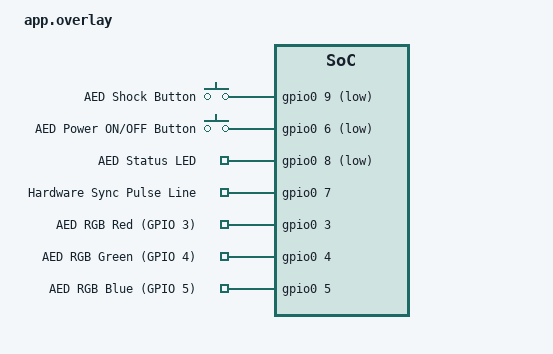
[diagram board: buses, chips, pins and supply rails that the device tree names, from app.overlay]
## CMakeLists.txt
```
# CMakeLists.txt — Zephyr RTOS Build Configuration
# CPR External AED Shock Controller (ESP32-C3)
# Protocol: BLE Peripheral (the mobile App connects directly to the AED)

cmake_minimum_required(VERSION 3.20.0)

find_package(Zephyr REQUIRED HINTS $ENV{ZEPHYR_BASE})
project(cpr_zephyr_aed_controller)

target_include_directories(app PRIVATE src)

target_sources(app PRIVATE
    src/main.c
    src/aed_button.c
    src/aed_led.c
    src/aed_ble.c
)
```

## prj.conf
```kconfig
# prj.conf — Zephyr RTOS Project Configuration
# Target  : ESP32-C3 Super Mini (esp32c3_devkitm)
# Project : CPR External AED Shock Controller
# Protocol: BLE PERIPHERAL — the mobile App connects directly to the AED
#           (the Manikin is a separate device, also connected to the App)

# ─── Serial Console & Logging ────────────────────────────────────────────────
CONFIG_PRINTK=y
CONFIG_LOG=y
CONFIG_LOG_DEFAULT_LEVEL=3

# ─── Kernel & Memory ─────────────────────────────────────────────────────────
CONFIG_MAIN_STACK_SIZE=4096
CONFIG_SYSTEM_WORKQUEUE_STACK_SIZE=4096
CONFIG_HEAP_MEM_POOL_SIZE=32768
CONFIG_NEWLIB_LIBC=y

# ─── BLE Stack (Peripheral — App connects to AED) ────────────────────────────
CONFIG_BT=y
CONFIG_BT_PERIPHERAL=y
CONFIG_BT_DEVICE_NAME="AED_001"
CONFIG_BT_DEVICE_APPEARANCE=1792
CONFIG_BT_MAX_CONN=1
CONFIG_BT_GATT_DYNAMIC_DB=y
CONFIG_BT_BUF_ACL_RX_SIZE=256
CONFIG_BT_BUF_ACL_TX_SIZE=256
CONFIG_BT_L2CAP_TX_MTU=247

# ─── BLE Security: LE Secure Connections only, fixed passkey, bonding ────────
CONFIG_BT_SMP=y
CONFIG_BT_SMP_SC_ONLY=y
CONFIG_BT_BONDABLE=y
CONFIG_BT_APP_PASSKEY=y
CONFIG_BT_MAX_PAIRED=1
CONFIG_BT_KEYS_OVERWRITE_OLDEST=y

# ─── Persistent bond storage (flash, NVS) ────────────────────────────────────
CONFIG_FLASH=y
CONFIG_FLASH_MAP=y
CONFIG_NVS=y
CONFIG_SETTINGS=y
CONFIG_SETTINGS_NVS=y
CONFIG_BT_SETTINGS=y

# ─── Peripheral Hardware Drivers ─────────────────────────────────────────────
CONFIG_GPIO=y
CONFIG_PWM=y
```

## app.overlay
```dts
/*
 * app.overlay - Devicetree overlay for CPR External AED Controller
 * Target: ESP32-C3 Super Mini / esp32c3_devkitm
 */

#include <zephyr/dt-bindings/gpio/gpio.h>

/ {
    chosen {
        zephyr,console = &usb_serial;
        zephyr,shell-uart = &usb_serial;
    };

    aliases {
        aed-shock-btn = &shock_button_node;
        aed-power-btn = &power_button_node;
        aed-status-led = &status_led_node;
        aed-sync-out = &sync_out_node;
        aed-rgb-red = &rgb_red_node;
        aed-rgb-green = &rgb_green_node;
        aed-rgb-blue = &rgb_blue_node;
    };

    aed_gpio_nodes {
        compatible = "gpio-keys";

        /* Shock Button: GPIO 9 (Onboard Boot Button or parallel external button) */
        shock_button_node: shock_btn {
            gpios = <&gpio0 9 (GPIO_PULL_UP | GPIO_ACTIVE_LOW)>;
            label = "AED Shock Button";
        };

        /* Power ON/OFF Momentary Button: GPIO 6 (External momentary tactile switch to GND) */
        power_button_node: power_btn {
            gpios = <&gpio0 6 (GPIO_PULL_UP | GPIO_ACTIVE_LOW)>;
            label = "AED Power ON/OFF Button";
        };

        /* Status Indicator LED: GPIO 8 (Onboard blue LED, Active-LOW) */
        status_led_node: status_led {
            gpios = <&gpio0 8 GPIO_ACTIVE_LOW>;
            label = "AED Status LED";
        };

        /* Hardware Sync Pulse Output: GPIO 7 */
        sync_out_node: sync_out {
            gpios = <&gpio0 7 GPIO_ACTIVE_HIGH>;
            label = "Hardware Sync Pulse Line";
        };

        /* RGB LED Channels */
        rgb_red_node: rgb_red {
            gpios = <&gpio0 3 GPIO_ACTIVE_HIGH>;
            label = "AED RGB Red (GPIO 3)";
        };

        rgb_green_node: rgb_green {
            gpios = <&gpio0 4 GPIO_ACTIVE_HIGH>;
            label = "AED RGB Green (GPIO 4)";
        };

        rgb_blue_node: rgb_blue {
            gpios = <&gpio0 5 GPIO_ACTIVE_HIGH>;
            label = "AED RGB Blue (GPIO 5)";
        };
    };
};

&user_button1 {
    status = "disabled";
};
```

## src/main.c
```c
/**
 * @file    main.c
 * @brief   CPR External AED Shock Unit - Main Application (Zephyr RTOS)
 * @version 4.0.0
 *
 * The mobile App is the BLE central and connects directly to this AED.
 *
 * App commands (NUS RX):   C or ?  |  P0 P1  |  S0 S1
 * AED events   (NUS TX):   power 0/1/2   shock 0/1/2/3   (only on change)
 *
 *   power: 0 button off | 1 waiting for press | 2 power on
 *   shock: 0 button off | 1 waiting for press | 2 in progress | 3 delivered
 *   (power 0 always forces shock 0)
 *
 * Session flow:
 *   App P1            -> power 1   (power button enabled, nothing else happens)
 *   user presses power-> power 2   LED solid yellow
 *   App checks pads (Manikin), sends S1 -> shock 1 (shock button enabled)
 *   user presses shock-> shock 2   LED yellow 5 s -> red strobe 5 s (+ sync pulse)
 *   sequence done     -> shock 3   LED green
 *   App sends P0      -> power 0, shock 0, LED off
 *   App link lost     -> power 0, shock 0 (fail-safe)
 *
 * All state changes run in ONE context (system work queue): button ISRs and
 * BLE callbacks only post an event to the queue.
 */

#include <zephyr/kernel.h>
#include <zephyr/logging/log.h>

#include "aed_config.h"
#include "aed_protocol.h"
#include "aed_button.h"
#include "aed_led.h"
#include "aed_ble.h"

LOG_MODULE_REGISTER(main, LOG_LEVEL_INF);

/* --- Events (posted from ISR / BLE thread, handled in the work queue) ----- */
enum aed_event {
    EV_PWR_PRESS = 1,
    EV_SHOCK_PRESS,
    EV_P0,
    EV_P1,
    EV_S0,
    EV_S1,
    EV_ANNOUNCE,
    EV_LINK_UP,
    EV_LINK_DOWN,
    EV_NOTIFY_ON,
};

K_MSGQ_DEFINE(s_evq, sizeof(uint8_t), 16, 1);
static struct k_work s_ev_work;

static void post_event(enum aed_event ev)
{
    uint8_t e = (uint8_t)ev;
    if (k_msgq_put(&s_evq, &e, K_NO_WAIT) == 0) {
        k_work_submit(&s_ev_work);
    } else {
        LOG_WRN("Event queue full, event %d dropped", (int)ev);
    }
}

/* --- AED state ------------------------------------------------------------ */
static uint8_t s_power = AED_POWER_OFF;
static uint8_t s_shock = AED_SHOCK_OFF;

static struct k_work_delayable s_shock_seq_work;
static uint8_t s_shock_stage = 0;  /* 0 idle, 1 yellow (5 s), 2 red strobe (5 s) */

static void publish_power(bool force)
{
    static int8_t last = -1;
    if (force || last != (int8_t)s_power) {
        last = (int8_t)s_power;
        aed_ble_send_event(PTYPE_AED_POWER, (int8_t)s_power);
    }
}

static void publish_shock(bool force)
{
    static int8_t last = -1;
    if (force || last != (int8_t)s_shock) {
        last = (int8_t)s_shock;
        aed_ble_send_event(PTYPE_AED_SHOCK, (int8_t)s_shock);
    }
}

/* LED follows the state, except while the shock sequence drives it */
static void apply_led(void)
{
    if (!aed_ble_is_connected()) {
        aed_led_set_mode(AED_LED_MODE_WAITING_FOR_PEER);      /* blue breathing */
    } else if (s_shock == AED_SHOCK_IN_PROGRESS) {
        /* sequence owns the LED */
    } else if (s_shock == AED_SHOCK_DELIVERED) {
        aed_led_set_mode(AED_LED_MODE_PEER_ACTIVE);            /* solid green */
    } else if (s_power == AED_POWER_ON) {
        aed_led_set_mode(AED_LED_MODE_POWER_READY);            /* solid yellow */
    } else {
        aed_led_set_mode(AED_LED_MODE_OFF);
    }
}

static void cancel_sequence(void)
{
    k_work_cancel_delayable(&s_shock_seq_work);
    s_shock_stage = 0;
}

/* Power 0 + shock 0 (App P0, user power-off, link lost) */
static void all_off(bool publish)
{
    cancel_sequence();
    s_power = AED_POWER_OFF;
    s_shock = AED_SHOCK_OFF;
    if (publish) {
        publish_power(true);
        publish_shock(true);
    }
    apply_led();
}

/* --- Shock sequence: yellow 5 s -> red strobe 5 s -> green (delivered) ---- */
static void start_shock_sequence(void)
{
    s_shock       = AED_SHOCK_IN_PROGRESS;
    s_shock_stage = 1;
    publish_shock(false);

    LOG_INF(">>> [SHOCK 1/2] YELLOW 5 s <<<");
    aed_led_set_mode(AED_LED_MODE_SHOCK_INSTRUCTION);
    k_work_reschedule(&s_shock_seq_work, K_MSEC(TIMING_SHOCK_INSTRUCTION_MS));
}

static void shock_sequence_work_handler(struct k_work *work)
{
    ARG_UNUSED(work);

    if (s_shock_stage == 1) {
        s_shock_stage = 2;
        LOG_INF(">>> [SHOCK 2/2] RED STROBE 5 s, sync pulse on GPIO 7 <<<");
        aed_led_set_mode(AED_LED_MODE_SHOCK_GIVING);
        aed_button_fire_sync_pulse(TIMING_SYNC_PULSE_MS * 1000U);
        k_work_reschedule(&s_shock_seq_work, K_MSEC(TIMING_SHOCK_GIVING_MS));
    } else if (s_shock_stage == 2) {
        s_shock_stage = 0;
        s_shock       = AED_SHOCK_DELIVERED;
        LOG_INF(">>> SHOCK DELIVERED - waiting for App P0 <<<");
        aed_led_set_mode(AED_LED_MODE_SHOCK_OFF_LATCH);        /* green */
        publish_shock(false);
    }
}

/* --- Event handler (single context) --------------------------------------- */
static void handle_event(uint8_t ev)
{
    switch (ev) {
    case EV_LINK_UP:
        LOG_INF("App connected");
        apply_led();
        break;

    case EV_LINK_DOWN:
        LOG_INF("App disconnected - fail-safe: power 0, shock 0");
        all_off(false);                 /* link is gone, nothing to publish */
        break;

    case EV_NOTIFY_ON:                  /* snapshot of the current values */
        publish_power(true);
        publish_shock(true);
        break;

    case EV_ANNOUNCE:
        aed_ble_send_announce();
        break;

    case EV_P1:                         /* App turns power ON directly (Option 2) */
        if (s_power != AED_POWER_ON) {
            s_power = AED_POWER_ON;
            apply_led();
        }
        publish_power(true);
        break;

    case EV_P0:                         /* disable power + shock buttons */
        all_off(true);
        break;

    case EV_S1:                         /* enable shock button (power must be on) */
        if (s_power == AED_POWER_ON && s_shock == AED_SHOCK_OFF) {
            s_shock = AED_SHOCK_WAIT_PRESS;
            apply_led();
        } else {
            LOG_WRN("S1 ignored (power=%u shock=%u)", s_power, s_shock);
        }
        publish_shock(true);
        break;

    case EV_S0:                         /* disable shock button */
        if (s_shock == AED_SHOCK_WAIT_PRESS) {
            s_shock = AED_SHOCK_OFF;
            apply_led();
        } else {
            LOG_WRN("S0 ignored (shock=%u)", s_shock);
        }
        publish_shock(true);
        break;

    case EV_PWR_PRESS:                  /* GPIO 6 triggered: Monitor Only (inform, do not reset) */
        LOG_INF("GPIO 6 triggered [MONITOR EVENT] - state retained (power=%u shock=%u)", s_power, s_shock);
        aed_ble_send_event(PTYPE_AED_TRIGGER, 1);
        break;

    case EV_SHOCK_PRESS:                /* user presses the shock button */
        if (s_shock == AED_SHOCK_WAIT_PRESS) {
            LOG_INF("Shock button pressed: starting sequence");
            start_shock_sequence();
        } else {
            LOG_INF("Shock button ignored (shock=%u)", s_shock);
        }
        break;

    default:
        break;
    }
}

static void event_work_handler(struct k_work *work)
{
    ARG_UNUSED(work);
    uint8_t ev;
    while (k_msgq_get(&s_evq, &ev, K_NO_WAIT) == 0) {
        handle_event(ev);
    }
}

/* --- Callbacks: only post events ------------------------------------------ */
static void on_shock_button_pressed(void)  { post_event(EV_SHOCK_PRESS); }
static void on_power_button_pressed(void)  { post_event(EV_PWR_PRESS); }
static void on_app_link(bool connected)    { post_event(connected ? EV_LINK_UP : EV_LINK_DOWN); }
static void on_app_notify_enabled(void)    { post_event(EV_NOTIFY_ON); }

static void on_app_command(aed_cmd_t cmd)
{
    switch (cmd) {
    case AED_CMD_ANNOUNCE: post_event(EV_ANNOUNCE); break;
    case AED_CMD_P0:       post_event(EV_P0);       break;
    case AED_CMD_P1:       post_event(EV_P1);       break;
    case AED_CMD_S0:       post_event(EV_S0);       break;
    case AED_CMD_S1:       post_event(EV_S1);       break;
    default: break;
    }
}

/* --- MAIN ------------------------------------------------------------------ */
int main(void)
{
    LOG_INF("==================================================");
    LOG_INF(" CPR External AED Unit v%s [Zephyr RTOS]", AED_FW_VERSION_STR);
    LOG_INF(" Protocol: BLE PERIPHERAL (App connects directly)");
    LOG_INF(" Device  : %s", AED_BLE_DEVICE_NAME);
    LOG_INF("==================================================");

    k_work_init(&s_ev_work, event_work_handler);
    k_work_init_delayable(&s_shock_seq_work, shock_sequence_work_handler);

    int ret = aed_led_init();                       /* starts blue breathing */
    if (ret) {
        LOG_ERR("LED init failed (err %d)", ret);
    }

    ret = aed_button_init(on_shock_button_pressed, on_power_button_pressed);
    if (ret) {
        LOG_ERR("Button init failed (err %d)", ret);
    }

    ret = aed_ble_init(on_app_command, on_app_link, on_app_notify_enabled);
    if (ret) {
        LOG_ERR("BLE init failed (err %d) - running without wireless", ret);
    }

    LOG_INF("AED System Ready (power 0, shock 0).");

    while (1) {
        LOG_INF("[AED HEALTH] power=%u shock=%u | App: %s",
                s_power, s_shock,
                aed_ble_is_connected() ? "CONNECTED" : "ADVERTISING");
        k_msleep(5000);
    }

    return 0;
}
```

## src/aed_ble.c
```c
/**
 * @file    aed_ble.c
 * @brief   AED BLE Peripheral Subsystem Implementation (Zephyr RTOS)
 * @version 4.0.0
 *
 * ROLE: BLE PERIPHERAL. The mobile App connects directly to the AED.
 *
 * Flow:
 *   1. AED boots -> advertises as "AED_001" (connectable)
 *   2. App connects, pairs (passkey, LE Secure Connections), bonds
 *   3. App enables NUS TX notify -> AED sends current power / shock values
 *   4. App writes commands to NUS RX:  C ?  P0 P1  S0 S1
 *   5. AED notifies events (power, shock) only when a value changes
 *
 * SECURITY:
 *   - LE Secure Connections only (CONFIG_BT_SMP_SC_ONLY)
 *   - Fixed per-unit passkey (AED_BLE_PASSKEY in aed_config.h) -> MITM-protected
 *   - All GATT attributes need an authenticated + encrypted link (PERM_*_AUTHEN)
 *   - Bond stored in flash (CONFIG_BT_SETTINGS)
 */

#include "aed_ble.h"
#include "aed_config.h"
#include "aed_protocol.h"

#include <string.h>
#include <zephyr/kernel.h>
#include <zephyr/logging/log.h>
#include <zephyr/settings/settings.h>
#include <zephyr/bluetooth/bluetooth.h>
#include <zephyr/bluetooth/conn.h>
#include <zephyr/bluetooth/uuid.h>
#include <zephyr/bluetooth/gatt.h>
#include <zephyr/bluetooth/hci.h>

LOG_MODULE_REGISTER(aed_ble, LOG_LEVEL_INF);

/* --- NUS UUIDs ------------------------------------------------------------ */
#define BT_UUID_NUS_SERVICE_VAL \
    BT_UUID_128_ENCODE(0x6e400001, 0xb5a3, 0xf393, 0xe0a9, 0xe50e24dcca9e)
#define BT_UUID_NUS_RX_VAL \
    BT_UUID_128_ENCODE(0x6e400002, 0xb5a3, 0xf393, 0xe0a9, 0xe50e24dcca9e)
#define BT_UUID_NUS_TX_VAL \
    BT_UUID_128_ENCODE(0x6e400003, 0xb5a3, 0xf393, 0xe0a9, 0xe50e24dcca9e)

static struct bt_uuid_128 nus_uuid    = BT_UUID_INIT_128(BT_UUID_NUS_SERVICE_VAL);
static struct bt_uuid_128 nus_rx_uuid = BT_UUID_INIT_128(BT_UUID_NUS_RX_VAL);
static struct bt_uuid_128 nus_tx_uuid = BT_UUID_INIT_128(BT_UUID_NUS_TX_VAL);

/* --- State ---------------------------------------------------------------- */
static struct bt_conn *s_conn = NULL;
static volatile bool   s_connected = false;
static volatile bool   s_notify_en = false;

static aed_ble_cmd_cb_t    s_cmd_cb    = NULL;
static aed_ble_link_cb_t   s_link_cb   = NULL;
static aed_ble_notify_cb_t s_notify_cb = NULL;

static struct k_work_delayable s_adv_restart_work;
static struct k_spinlock       s_lock;
static atomic_t                s_packet_counter;
static uint8_t                 s_device_id[3] = {0, 0, 0};

/* --- Advertisement payload ------------------------------------------------ *
 * Manufacturer data: C4 C9 (company 0xC9C4) + state (0 available, 1 connected)
 */
static uint8_t s_mfg_data[3] = {
    (uint8_t)(AED_BLE_MFG_COMPANY_ID & 0xFF),
    (uint8_t)((AED_BLE_MFG_COMPANY_ID >> 8) & 0xFF),
    AED_BLE_STATE_AVAILABLE
};

static const struct bt_data s_ad[] = {
    BT_DATA_BYTES(BT_DATA_FLAGS, (BT_LE_AD_GENERAL | BT_LE_AD_NO_BREDR)),
    BT_DATA(BT_DATA_NAME_COMPLETE, AED_BLE_DEVICE_NAME, sizeof(AED_BLE_DEVICE_NAME) - 1),
    BT_DATA(BT_DATA_MANUFACTURER_DATA, s_mfg_data, sizeof(s_mfg_data)),
};

static const struct bt_data s_sd[] = {
    BT_DATA_BYTES(BT_DATA_UUID128_ALL, BT_UUID_NUS_SERVICE_VAL),
};

/* --- GATT: NUS TX (notify: AED -> App) ------------------------------------ */
static uint8_t  s_tx_buf[24];
static uint16_t s_tx_len = 0;

static ssize_t on_nus_tx_read(struct bt_conn *conn,
                              const struct bt_gatt_attr *attr,
                              void *buf, uint16_t len, uint16_t offset)
{
    return bt_gatt_attr_read(conn, attr, buf, len, offset, s_tx_buf, s_tx_len);
}

static void on_nus_tx_ccc_changed(const struct bt_gatt_attr *attr, uint16_t value)
{
    ARG_UNUSED(attr);
    s_notify_en = (value == BT_GATT_CCC_NOTIFY);
    LOG_INF("[AED BLE] NUS TX notify %s", s_notify_en ? "enabled" : "disabled");
    if (s_notify_en && s_notify_cb) {
        s_notify_cb();
    }
}

/* --- GATT: NUS RX (write: App -> AED) ------------------------------------- *
 * Commands (1 letter + optional digit, trailing CR/LF ignored):
 *   C or ?   announce      P0 / P1   power button      S0 / S1   shock button
 */
static ssize_t on_nus_rx_write(struct bt_conn *conn,
                               const struct bt_gatt_attr *attr,
                               const void *buf, uint16_t len,
                               uint16_t offset, uint8_t flags)
{
    ARG_UNUSED(attr);
    ARG_UNUSED(flags);

    if (offset != 0) {
        return BT_GATT_ERR(BT_ATT_ERR_INVALID_OFFSET);
    }
    if (len < 1 || conn != s_conn) {
        return len;
    }

    const char *cmd = (const char *)buf;
    char c = cmd[0];
    if (c >= 'a' && c <= 'z') {
        c = (char)(c - 'a' + 'A');
    }
    char arg = (len >= 2) ? cmd[1] : '\0';

    aed_cmd_t out = 0;

    if (c == 'C' || c == '?') {
        out = AED_CMD_ANNOUNCE;
    } else if (c == 'P' && arg == '0') {
        out = AED_CMD_P0;
    } else if (c == 'P' && arg == '1') {
        out = AED_CMD_P1;
    } else if (c == 'S' && arg == '0') {
        out = AED_CMD_S0;
    } else if (c == 'S' && arg == '1') {
        out = AED_CMD_S1;
    } else {
        LOG_WRN("[RX BLOCKED] Unknown command from App (len %u, first byte 0x%02x)", len, (uint8_t)cmd[0]);
        return len;
    }

    LOG_INF("[RX] Command %d from App", (int)out);
    if (s_cmd_cb) {
        s_cmd_cb(out);
    }
    return len;
}

/* --- GATT Service (all attributes need authenticated + encrypted link) ---- */
BT_GATT_SERVICE_DEFINE(aed_nus_svc,
    BT_GATT_PRIMARY_SERVICE(&nus_uuid),

    /* attrs[1], attrs[2]: NUS RX - App writes commands here */
    BT_GATT_CHARACTERISTIC(&nus_rx_uuid.uuid,
                           BT_GATT_CHRC_WRITE | BT_GATT_CHRC_WRITE_WITHOUT_RESP,
                           BT_GATT_PERM_WRITE_AUTHEN,
                           NULL, on_nus_rx_write, NULL),

    /* attrs[3], attrs[4]: NUS TX - AED notifies events here */
    BT_GATT_CHARACTERISTIC(&nus_tx_uuid.uuid,
                           BT_GATT_CHRC_NOTIFY | BT_GATT_CHRC_READ,
                           BT_GATT_PERM_READ_AUTHEN,
                           on_nus_tx_read, NULL, NULL),

    /* attrs[5]: CCC */
    BT_GATT_CCC(on_nus_tx_ccc_changed,
                BT_GATT_PERM_READ_AUTHEN | BT_GATT_PERM_WRITE_AUTHEN),
);

#define NUS_TX_ATTR_INDEX 4

/* --- Packet send ---------------------------------------------------------- */
static int send_bytes(const void *data, uint16_t len)
{
    k_spinlock_key_t key = k_spin_lock(&s_lock);
    struct bt_conn *conn = s_conn ? bt_conn_ref(s_conn) : NULL;
    k_spin_unlock(&s_lock, key);

    if (!conn) {
        return -ENOTCONN;
    }

    const struct bt_gatt_attr *tx = &aed_nus_svc.attrs[NUS_TX_ATTR_INDEX];
    int err;

    if (!bt_gatt_is_subscribed(conn, tx, BT_GATT_CCC_NOTIFY)) {
        err = -ENOTCONN;
    } else if (len > sizeof(s_tx_buf)) {
        err = -EMSGSIZE;
    } else {
        memcpy(s_tx_buf, data, len);
        s_tx_len = len;
        err = bt_gatt_notify(conn, tx, data, len);
    }

    bt_conn_unref(conn);
    return err;
}

int aed_ble_send_event(uint8_t type, int8_t value)
{
    AedEventPacket p;
    memset(&p, 0, sizeof(p));

    p.magic[0]    = PACKET_MAGIC_0;
    p.magic[1]    = PACKET_MAGIC_1;
    p.version     = PROTOCOL_VER;
    p.type        = type;
    p.timestamp   = k_uptime_get_32();
    p.id          = (uint16_t)atomic_inc(&s_packet_counter);
    p.value       = value;
    memcpy(p.deviceID, s_device_id, sizeof(p.deviceID));
    p.checksum    = aed_proto_checksum((const uint8_t *)&p, sizeof(p) - 1u);

    int err = send_bytes(&p, sizeof(p));
    if (err) {
        LOG_WRN("[AED BLE] event 0x%02x=%d not sent (err %d)", type, value, err);
    }
    return err;
}

int aed_ble_send_announce(void)
{
    AedAnnouncePacket p;
    memset(&p, 0, sizeof(p));

    p.magic[0]   = PACKET_MAGIC_0;
    p.magic[1]   = PACKET_MAGIC_1;
    p.version    = PROTOCOL_VER;
    p.type       = PTYPE_ANNOUNCE;
    p.timestamp  = k_uptime_get_32();
    p.id         = (uint16_t)atomic_inc(&s_packet_counter);
    p.battery    = -1;   /* AED has no battery measurement */
    memcpy(p.deviceID, s_device_id, sizeof(p.deviceID));
    /* AED_BLE_DEVICE_NAME is "AED_001": send the unit id part "001" */
    memcpy(p.name, AED_BLE_DEVICE_NAME + 4, 3);
    p.name[3]    = '\0';
    p.deviceType = AED_DEVICE_TYPE;
    p.checksum   = aed_proto_checksum((const uint8_t *)&p, sizeof(p) - 1u);

    return send_bytes(&p, sizeof(p));
}

/* --- Advertising ---------------------------------------------------------- */
static int start_advertising(void)
{
    if (s_connected) {
        return 0;
    }

    bt_le_adv_stop();

    int err = bt_le_adv_start(BT_LE_ADV_CONN_FAST_1,
                              s_ad, ARRAY_SIZE(s_ad),
                              s_sd, ARRAY_SIZE(s_sd));
    if (err) {
        LOG_ERR("[AED BLE] bt_le_adv_start failed (err %d)", err);
        return err;
    }

    LOG_INF("[AED BLE] Advertising as '%s' - waiting for App...", AED_BLE_DEVICE_NAME);
    return 0;
}

static void adv_restart_work_handler(struct k_work *work)
{
    ARG_UNUSED(work);
    if (!s_connected && start_advertising()) {
        k_work_reschedule(&s_adv_restart_work, K_MSEC(500));
    }
}

/* --- Connection callbacks ------------------------------------------------- */
static void on_connected(struct bt_conn *conn, uint8_t err)
{
    if (err) {
        LOG_ERR("[AED BLE] Connection failed (err 0x%02x) - restarting adv", err);
        k_work_reschedule(&s_adv_restart_work, K_MSEC(100));
        return;
    }

    k_work_cancel_delayable(&s_adv_restart_work);

    k_spinlock_key_t key = k_spin_lock(&s_lock);
    s_conn      = bt_conn_ref(conn);
    s_connected = true;
    k_spin_unlock(&s_lock, key);

    s_mfg_data[2] = AED_BLE_STATE_CONNECTED;
    LOG_INF(">>> [AED BLE] App connected");

    /* Ask the App to secure the link (passkey pairing / encryption) */
    int sec = bt_conn_set_security(conn, BT_SECURITY_L4);
    if (sec) {
        LOG_WRN("[AED BLE] bt_conn_set_security failed (err %d)", sec);
    }

    if (s_link_cb) {
        s_link_cb(true);
    }
}

static void on_disconnected(struct bt_conn *conn, uint8_t reason)
{
    LOG_INF("<<< [AED BLE] App disconnected (reason 0x%02x)", reason);

    k_spinlock_key_t key = k_spin_lock(&s_lock);
    struct bt_conn *old = s_conn;
    s_conn      = NULL;
    s_connected = false;
    k_spin_unlock(&s_lock, key);

    if (old) {
        bt_conn_unref(old);
    }
    s_notify_en   = false;
    s_mfg_data[2] = AED_BLE_STATE_AVAILABLE;

    if (s_link_cb) {
        s_link_cb(false);
    }

    k_work_reschedule(&s_adv_restart_work, K_MSEC(100));
}

static void on_recycled(void)
{
    k_work_reschedule(&s_adv_restart_work, K_NO_WAIT);
}

BT_CONN_CB_DEFINE(aed_conn_callbacks) = {
    .connected    = on_connected,
    .disconnected = on_disconnected,
    .recycled     = on_recycled,
};

/* --- Pairing (fixed passkey, App enters it) ------------------------------- */
static void auth_passkey_display(struct bt_conn *conn, unsigned int passkey)
{
    ARG_UNUSED(conn);
    ARG_UNUSED(passkey);
    /* Passkey is fixed (AED_BLE_PASSKEY) and printed on the unit label */
    LOG_INF("[AED BLE] Pairing: App must enter the unit passkey");
}

static void auth_cancel(struct bt_conn *conn)
{
    ARG_UNUSED(conn);
    LOG_WRN("[AED BLE] Pairing cancelled");
}

#if defined(CONFIG_BT_APP_PASSKEY)
static uint32_t auth_app_passkey(struct bt_conn *conn)
{
    ARG_UNUSED(conn);
    return (uint32_t)AED_BLE_PASSKEY;
}
#endif

static struct bt_conn_auth_cb s_auth_cb = {
    .passkey_display = auth_passkey_display,
#if defined(CONFIG_BT_APP_PASSKEY)
    .app_passkey     = auth_app_passkey,
#endif
    .cancel          = auth_cancel,
};

static void pairing_complete(struct bt_conn *conn, bool bonded)
{
    ARG_UNUSED(conn);
    LOG_INF("[AED BLE] Pairing complete (bonded=%d)", bonded);
}

static void pairing_failed(struct bt_conn *conn, enum bt_security_err reason)
{
    ARG_UNUSED(conn);
    LOG_WRN("[AED BLE] Pairing failed (reason %d)", reason);
}

static struct bt_conn_auth_info_cb s_auth_info_cb = {
    .pairing_complete = pairing_complete,
    .pairing_failed   = pairing_failed,
};

/* --- Public API ----------------------------------------------------------- */
int aed_ble_init(aed_ble_cmd_cb_t cmd_cb,
                 aed_ble_link_cb_t link_cb,
                 aed_ble_notify_cb_t notify_cb)
{
    s_cmd_cb    = cmd_cb;
    s_link_cb   = link_cb;
    s_notify_cb = notify_cb;

    k_work_init_delayable(&s_adv_restart_work, adv_restart_work_handler);

    int err = bt_conn_auth_cb_register(&s_auth_cb);
    if (err) {
        LOG_ERR("[AED BLE] auth cb register failed (err %d)", err);
        return err;
    }
    err = bt_conn_auth_info_cb_register(&s_auth_info_cb);
    if (err) {
        LOG_ERR("[AED BLE] auth info cb register failed (err %d)", err);
        return err;
    }

    err = bt_enable(NULL);
    if (err) {
        LOG_ERR("[AED BLE] bt_enable failed (err %d)", err);
        return err;
    }

    if (IS_ENABLED(CONFIG_BT_SETTINGS)) {
        err = settings_load();
        if (err) {
            LOG_WRN("[AED BLE] settings_load failed (err %d) - bond not persistent", err);
        }
    }

    /* Device ID = last 3 bytes of the BLE address */
    bt_addr_le_t addrs[CONFIG_BT_ID_MAX];
    size_t count = ARRAY_SIZE(addrs);
    bt_id_get(addrs, &count);
    if (count > 0) {
        s_device_id[0] = addrs[0].a.val[2];
        s_device_id[1] = addrs[0].a.val[1];
        s_device_id[2] = addrs[0].a.val[0];
    }

    LOG_INF("[AED BLE] BLE stack enabled. Starting advertising as '%s'...", AED_BLE_DEVICE_NAME);
    return start_advertising();
}

bool aed_ble_is_connected(void)
{
    return s_connected;
}
```

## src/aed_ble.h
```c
/**
 * @file    aed_ble.h
 * @brief   AED BLE Peripheral Subsystem - Public API (Zephyr RTOS)
 * @version 4.0.0
 *
 * AED role: BLE PERIPHERAL. The mobile App is the BLE central and connects
 * directly to the AED (the Manikin is a separate device, also connected to
 * the App; AED and Manikin never talk to each other).
 *
 *   App -> AED commands (NUS RX write, plain ASCII):
 *     C or ?   announce request
 *     P0 / P1  power button disable / enable
 *     S0 / S1  shock button disable / enable
 *
 *   AED -> App events (NUS TX notify): see aed_protocol.h
 *
 * Link security: LE Secure Connections only, authenticated (passkey),
 * bonded. Every GATT attribute requires an authenticated, encrypted link.
 */

#pragma once

#include <stdbool.h>
#include <stdint.h>

#ifdef __cplusplus
extern "C" {
#endif

typedef enum {
    AED_CMD_ANNOUNCE = 1,   /* 'C' or '?' */
    AED_CMD_P0,             /* power button disable */
    AED_CMD_P1,             /* power button enable  */
    AED_CMD_S0,             /* shock button disable */
    AED_CMD_S1,             /* shock button enable  */
} aed_cmd_t;

/** Called (BLE thread) for every valid command written by the App */
typedef void (*aed_ble_cmd_cb_t)(aed_cmd_t cmd);

/** Called (BLE thread) when the App connects (true) or disconnects (false) */
typedef void (*aed_ble_link_cb_t)(bool connected);

/** Called (BLE thread) when the App enables NUS TX notifications */
typedef void (*aed_ble_notify_cb_t)(void);

/**
 * @brief  Initialize BLE stack, security, GATT service and start advertising.
 * @return 0 on success, negative errno on failure
 */
int aed_ble_init(aed_ble_cmd_cb_t cmd_cb,
                 aed_ble_link_cb_t link_cb,
                 aed_ble_notify_cb_t notify_cb);

/** True while the App is connected */
bool aed_ble_is_connected(void);

/**
 * @brief  Notify one event to the App (15 byte packet).
 * @param  type   PTYPE_AED_POWER or PTYPE_AED_SHOCK
 * @param  value  event value
 * @return 0 on success, negative errno if App not connected / not subscribed
 */
int aed_ble_send_event(uint8_t type, int8_t value);

/** Notify the announce packet (reply to 'C' / '?') */
int aed_ble_send_announce(void);

#ifdef __cplusplus
}
#endif
```

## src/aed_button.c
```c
/**
 * @file    aed_button.c
 * @brief   AED Shock & Power ON/OFF Button Drivers (Zephyr RTOS)
 * @version 2.0.0
 */

#include "aed_button.h"
#include <zephyr/kernel.h>
#include <zephyr/drivers/gpio.h>
#include <zephyr/logging/log.h>

LOG_MODULE_REGISTER(aed_button, LOG_LEVEL_INF);

/* Devicetree specifications */
static const struct gpio_dt_spec s_shock_btn_spec = GPIO_DT_SPEC_GET_OR(DT_ALIAS(aed_shock_btn), gpios, {0});
static const struct gpio_dt_spec s_power_btn_spec = GPIO_DT_SPEC_GET_OR(DT_ALIAS(aed_power_btn), gpios, {0});
static const struct gpio_dt_spec s_sync_spec      = GPIO_DT_SPEC_GET_OR(DT_ALIAS(aed_sync_out), gpios, {0});

static const struct device *s_gpio_dev = NULL;

static struct gpio_callback s_shock_cb_data;
static struct gpio_callback s_power_cb_data;

static aed_shock_btn_cb_t s_shock_cb = NULL;
static aed_power_btn_cb_t s_power_cb = NULL;

static int64_t s_last_shock_ms = 0;
static int64_t s_last_power_ms = 0;

void aed_button_fire_sync_pulse(uint32_t duration_us)
{
    if (s_sync_spec.port && device_is_ready(s_sync_spec.port)) {
        gpio_pin_set_dt(&s_sync_spec, 1);
        k_busy_wait(duration_us);
        gpio_pin_set_dt(&s_sync_spec, 0);
    } else if (s_gpio_dev) {
        gpio_pin_set_raw(s_gpio_dev, HAL_PIN_SYNC_OUT, 1);
        k_busy_wait(duration_us);
        gpio_pin_set_raw(s_gpio_dev, HAL_PIN_SYNC_OUT, 0);
    }
}

/* Shock Button Interrupt Handler */
static void shock_btn_interrupt_handler(const struct device *dev, struct gpio_callback *cb, uint32_t pins)
{
    ARG_UNUSED(dev);
    ARG_UNUSED(cb);
    ARG_UNUSED(pins);

    /* Debounce only. Whether a press is allowed is decided by the AED state
     * machine in main.c (shock button works only in the "waiting for press" state). */
    int64_t now = k_uptime_get();
    if ((now - s_last_shock_ms) < TIMING_BTN_DEBOUNCE_MS) {
        return;
    }

    s_last_shock_ms = now;

    if (s_shock_cb) {
        s_shock_cb();
    }
}

/* Power button (momentary) Interrupt Handler - press edge only */
static void power_btn_interrupt_handler(const struct device *dev, struct gpio_callback *cb, uint32_t pins)
{
    ARG_UNUSED(dev);
    ARG_UNUSED(cb);
    ARG_UNUSED(pins);

    int64_t now = k_uptime_get();
    if ((now - s_last_power_ms) < TIMING_BTN_DEBOUNCE_MS) {
        return;
    }

    s_last_power_ms = now;

    if (s_power_cb) {
        s_power_cb();
    }
}

int aed_button_init(aed_shock_btn_cb_t shock_cb, aed_power_btn_cb_t power_cb)
{
    s_shock_cb = shock_cb;
    s_power_cb = power_cb;

    /* 1. Configure Hardware Sync Pulse Output (GPIO 7) */
    if (s_sync_spec.port && device_is_ready(s_sync_spec.port)) {
        gpio_pin_configure_dt(&s_sync_spec, GPIO_OUTPUT_INACTIVE);
        LOG_INF("Sync output configured via DT alias on GPIO %d", s_sync_spec.pin);
    } else {
        s_gpio_dev = DEVICE_DT_GET(DT_NODELABEL(gpio0));
        if (device_is_ready(s_gpio_dev)) {
            gpio_pin_configure(s_gpio_dev, HAL_PIN_SYNC_OUT, GPIO_OUTPUT_INACTIVE);
            LOG_INF("Sync output fallback initialized on GPIO %d", HAL_PIN_SYNC_OUT);
        }
    }

    /* 2. Configure Shock Button Input with Interrupt (GPIO 9) */
    if (s_shock_btn_spec.port && device_is_ready(s_shock_btn_spec.port)) {
        int ret = gpio_pin_configure_dt(&s_shock_btn_spec, GPIO_INPUT | GPIO_PULL_UP);
        if (ret < 0) {
            LOG_ERR("Failed to configure shock button DT (err %d)", ret);
            return ret;
        }

        ret = gpio_pin_interrupt_configure_dt(&s_shock_btn_spec, GPIO_INT_EDGE_TO_ACTIVE);
        if (ret < 0) {
            LOG_ERR("Failed to configure shock interrupt DT (err %d)", ret);
            return ret;
        }

        gpio_init_callback(&s_shock_cb_data, shock_btn_interrupt_handler, BIT(s_shock_btn_spec.pin));
        gpio_add_callback(s_shock_btn_spec.port, &s_shock_cb_data);
        LOG_INF("Shock button configured on DT pin %d (Active-LOW)", s_shock_btn_spec.pin);
    } else {
        if (!s_gpio_dev) {
            s_gpio_dev = DEVICE_DT_GET(DT_NODELABEL(gpio0));
        }
        if (s_gpio_dev && device_is_ready(s_gpio_dev)) {
            gpio_pin_configure(s_gpio_dev, HAL_PIN_SHOCK_BUTTON, GPIO_INPUT | GPIO_PULL_UP);
            gpio_pin_interrupt_configure(s_gpio_dev, HAL_PIN_SHOCK_BUTTON, GPIO_INT_EDGE_FALLING);

            gpio_init_callback(&s_shock_cb_data, shock_btn_interrupt_handler, BIT(HAL_PIN_SHOCK_BUTTON));
            gpio_add_callback(s_gpio_dev, &s_shock_cb_data);
            LOG_INF("Shock button configured on fallback GPIO %d", HAL_PIN_SHOCK_BUTTON);
        }
    }

    /* 3. Configure Power ON/OFF Latching Switch Input with BOTH Edges Interrupt (GPIO 6) */
    if (s_power_btn_spec.port && device_is_ready(s_power_btn_spec.port)) {
        int ret = gpio_pin_configure_dt(&s_power_btn_spec, GPIO_INPUT | GPIO_PULL_UP);
        if (ret < 0) {
            LOG_ERR("Failed to configure power switch DT (err %d)", ret);
            return ret;
        }

        ret = gpio_pin_interrupt_configure_dt(&s_power_btn_spec, GPIO_INT_EDGE_TO_ACTIVE);
        if (ret < 0) {
            LOG_ERR("Failed to configure power button interrupt DT (err %d)", ret);
            return ret;
        }

        gpio_init_callback(&s_power_cb_data, power_btn_interrupt_handler, BIT(s_power_btn_spec.pin));
        gpio_add_callback(s_power_btn_spec.port, &s_power_cb_data);
        LOG_INF("Power button configured on DT pin %d (press edge)", s_power_btn_spec.pin);
    } else {
        if (!s_gpio_dev) {
            s_gpio_dev = DEVICE_DT_GET(DT_NODELABEL(gpio0));
        }
        if (s_gpio_dev && device_is_ready(s_gpio_dev)) {
            gpio_pin_configure(s_gpio_dev, HAL_PIN_POWER_BUTTON, GPIO_INPUT | GPIO_PULL_UP);
            gpio_pin_interrupt_configure(s_gpio_dev, HAL_PIN_POWER_BUTTON, GPIO_INT_EDGE_FALLING);

            gpio_init_callback(&s_power_cb_data, power_btn_interrupt_handler, BIT(HAL_PIN_POWER_BUTTON));
            gpio_add_callback(s_gpio_dev, &s_power_cb_data);
            LOG_INF("Power button configured on fallback GPIO %d (press edge)", HAL_PIN_POWER_BUTTON);
        }
    }

    return 0;
}

bool aed_power_switch_is_on(void)
{
#if AED_POWER_SWITCH_HARDWARE_CUT
    /* Option 1: Direct in-line battery switch. Board is running = switch is ON */
    return true;
#else
    if (s_power_btn_spec.port && device_is_ready(s_power_btn_spec.port)) {
        /* Active-LOW: Switch closed to GND = 0 (logic level LOW = ON) */
        return gpio_pin_get_dt(&s_power_btn_spec) == 0;
    } else if (s_gpio_dev) {
        return gpio_pin_get_raw(s_gpio_dev, HAL_PIN_POWER_BUTTON) == 0;
    }
    return true; /* Default ON if pin not defined/unconnected */
#endif
}

bool aed_button_is_pressed(void)
{
    if (s_shock_btn_spec.port && device_is_ready(s_shock_btn_spec.port)) {
        return gpio_pin_get_dt(&s_shock_btn_spec) > 0;
    } else if (s_gpio_dev) {
        return gpio_pin_get_raw(s_gpio_dev, HAL_PIN_SHOCK_BUTTON) == 0;
    }
    return false;
}
```

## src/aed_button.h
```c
/**
 * @file    aed_button.h
 * @brief   AED Shock Button Driver with Hardware Debounce & Safety Lockout
 * @version 1.0.0
 */

#pragma once

#include <stdbool.h>
#include <stdint.h>
#include "aed_config.h"

#ifdef __cplusplus
extern "C" {
#endif

/* Both callbacks run in interrupt context: only post an event, do not block. */
typedef void (*aed_shock_btn_cb_t)(void);   /* shock button pressed */
typedef void (*aed_power_btn_cb_t)(void);   /* power button pressed */

int aed_button_init(aed_shock_btn_cb_t shock_cb, aed_power_btn_cb_t power_cb);

bool aed_button_is_pressed(void);

/* Reads physical latching power switch level (true = ON / GND, false = OFF / High-Z) */
bool aed_power_switch_is_on(void);

/* Manually trigger high sync pulse on GPIO 7 (e.g. 1000 us = 1 ms) */
void aed_button_fire_sync_pulse(uint32_t duration_us);

#ifdef __cplusplus
}
#endif
```

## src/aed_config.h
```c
/**
 * @file    aed_config.h
 * @brief   System & Hardware Configuration for External AED Shock Unit (Zephyr RTOS)
 * @version 3.0.0
 * @note    Protocol: BLE PERIPHERAL
 *          AED advertises as "AED_001". The mobile App (central) connects directly,
 *          pairs with a passkey and controls the AED with short commands
 *          (C ?  P0 P1  S0 S1). The AED notifies power / shock events to the App.
 *          The Manikin is a separate device, also connected to the App.
 */

#pragma once

#include <stdint.h>
#include <stdbool.h>
#include <stddef.h>

#define AED_FW_VERSION_STR       "3.0.0-ZEPHYR-BLE"
#define AED_PROJECT_NAME         "CPR_AED_BLE"

/* =============================================================================
 * BLE CONFIGURATION
 * -----------------------------------------------------------------------------
 * AED advertises under this name. App scans and assigns one AED to one Manikin.
 * Manikin then connects to this AED as Central. App never connects to AED.
 * ============================================================================= */
#define AED_BLE_DEVICE_NAME      "AED_001"          /* Matches CONFIG_BT_DEVICE_NAME in prj.conf */
#define AED_BLE_MFG_COMPANY_ID   0xC9C4             /* SMARTS manufacturer ID (little-endian) */

/* Manufacturer data state codes embedded in advertisement */
#define AED_BLE_STATE_AVAILABLE  0x00   /* Idle - waiting for the App */
#define AED_BLE_STATE_CONNECTED  0x01   /* App connected */

/* Fixed 6-digit pairing passkey (the App user types it when pairing).
 * CHANGE PER UNIT before shipping and print it on the unit label. */
#define AED_BLE_PASSKEY          123456

/* =============================================================================
 * HARDWARE GPIO ASSIGNMENTS (ESP32-C3 Super Mini)
 * Red: GPIO 3 | Green: GPIO 4 | Blue: GPIO 5 | Sync: GPIO 7 | Shock: GPIO 9
 * ============================================================================= */
#define HAL_PIN_SHOCK_BUTTON     9   /* Active-LOW Shock Button (Onboard BOOT or External) */
#define HAL_PIN_POWER_BUTTON     6   /* GPIO 6 logic monitor pin (Passive monitor: reports events, does not reset state) */
#define HAL_PIN_STATUS_LED       8   /* Active-LOW Status LED (Onboard Blue LED) */
#define HAL_PIN_SYNC_OUT         7   /* Hardware Trigger Pulse Line to Manikin (1ms sync) */

/* 
 * Power Switch Architecture:
 * 1 = Option 1: In-Line Battery Latching Switch (Hardware power cut). [ACTIVE]
 *               Switch physically connects/disconnects Battery (+) to ESP32-C3 5V/VIN.
 *               Zero standby current drain (0 uA). Board is active when powered.
 * 0 = Option 2: Logic Switch on GPIO 6 (Soft power / deep sleep).
 */
#define AED_POWER_SWITCH_HARDWARE_CUT 1

/* RGB LED Pins (3-Channel discrete or Common Cathode/Anode module) */
#define HAL_PIN_RGB_RED          3   /* RGB Red Channel (GPIO 3) */
#define HAL_PIN_RGB_GREEN        4   /* RGB Green Channel (GPIO 4) */
#define HAL_PIN_RGB_BLUE         5   /* RGB Blue Channel (GPIO 5) */

/* 
 * RGB LED Electrical Polarity:
 * 0 = Common Cathode (Active-HIGH: Logic 1 = ON, Logic 0 = OFF) [DEFAULT]
 * 1 = Common Anode   (Active-LOW:  Logic 0 = ON, Logic 1 = OFF)
 */
#define RGB_LED_ACTIVE_LOW       0

/* =============================================================================
 * TIMING & OPERATIONAL CONSTANTS (Milliseconds)
 * ============================================================================= */
#define TIMING_BTN_DEBOUNCE_MS       50    /* Button debounce time */
#define TIMING_SYNC_PULSE_MS         1     /* Hardware sync pulse duration (1 ms) */

/* MODE 01: WAITING FOR PEER / STANDBY (Deep Blue Breathing: 3.0s organic cycle, 150 steps @ 20ms) */
#define TIMING_LED_BREATH_TICK_MS    20    /* PWM/Breathing engine tick interval (20ms) */
#define TIMING_LED_BREATH_STEPS      150   /* 150 steps * 20ms = 3000ms (3.0s organic breath cycle) */

/* SHOCK SEQUENCE TIMINGS:
 * Stage 1: Yellow / Amber (Application instruction / charging) for 5.0 seconds
 * Stage 2: Red (Active shock delivery + 1ms sync pulse) for 5.0 seconds
 * Stage 3: Returns to Solid Green (Safe / shock complete)
 */
#define TIMING_SHOCK_INSTRUCTION_MS  5000  /* 5.0 seconds Yellow (Instruction giving from application) */
#define TIMING_SHOCK_GIVING_MS       5000  /* 5.0 seconds Red (Shock giving) */
#define TIMING_SHOCK_OFF_LATCH_MS    1000  /* 1.0s solid green latch */
#define TIMING_SHOCK_GIVING_STROBE_MS 100  /* 100ms ON / 100ms OFF (5 Hz urgent strobe) */

/* =============================================================================
 * AED STATE ENUMS & CODES
 * ============================================================================= */
typedef enum {
    AED_STATE_DISARMED = 0,   /* Standby / Peer Active (Mode 02) */
    AED_STATE_ARMED    = 1,   /* Armed / Alert Stage (Mode 03) */
    AED_STATE_SHOCK    = 2    /* Delivering Shock (Mode 04) */
} aed_state_t;
```

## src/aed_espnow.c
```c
/**
 * @file    aed_espnow.c
 * @brief   AED ESP-NOW Wireless Subsystem (Zephyr RTOS + Espressif HAL)
 * @version 1.0.0
 *
 * Uses the Espressif ESP-IDF HAL directly (esp_now.h, esp_wifi.h) which are
 * available under Zephyr via the espressif HAL module.
 *
 * NOTE: Zephyr's CONFIG_WIFI_ESP32 enables the Wi-Fi driver in STA mode
 *       which is required to power the RF hardware before esp_now_init().
 */

#include "aed_espnow.h"

#include <zephyr/kernel.h>
#include <zephyr/logging/log.h>

/* Espressif HAL — available via zephyr/modules/hal/espressif */
#include <esp_now.h>
#include <esp_wifi.h>
#include <esp_err.h>
#include <esp_mac.h>

LOG_MODULE_REGISTER(aed_espnow, LOG_LEVEL_INF);

/* ─── Internal state ───────────────────────────────────────────────────────── */
static bool                  s_ready    = false;
static aed_espnow_sent_cb_t  s_sent_cb  = NULL;

static const uint8_t s_manikin_mac[6] = ESPNOW_MANIKIN_RX_MAC;

/* ─── ESP-NOW send callback (called from Wi-Fi task context) ──────────────── */
static void espnow_send_cb(const esp_now_send_info_t *tx_info, esp_now_send_status_t status)
{
    bool ok = (status == ESP_NOW_SEND_SUCCESS);

    if (tx_info && tx_info->des_addr) {
        LOG_INF("[ESP-NOW] TX -> %02X:%02X:%02X:%02X:%02X:%02X : %s",
                tx_info->des_addr[0], tx_info->des_addr[1], tx_info->des_addr[2],
                tx_info->des_addr[3], tx_info->des_addr[4], tx_info->des_addr[5],
                ok ? "SUCCESS" : "FAILED");
    } else {
        LOG_INF("[ESP-NOW] TX : %s", ok ? "SUCCESS" : "FAILED");
    }

    if (s_sent_cb) {
        s_sent_cb(ok);
    }
}

/* ─── Internal transmit helper ────────────────────────────────────────────── */
static int espnow_tx(uint8_t cmd, uint8_t stage)
{
    if (!s_ready) {
        LOG_WRN("[ESP-NOW] Not initialized — packet dropped (cmd=%d stage=%d)", cmd, stage);
        return -ENODEV;
    }

    aed_espnow_pkt_t pkt = {
        .cmd    = cmd,
        .stage  = stage,
        .ts_ms  = k_uptime_get_32()
    };

    esp_err_t err = esp_now_send(s_manikin_mac, (const uint8_t *)&pkt, sizeof(pkt));
    if (err != ESP_OK) {
        LOG_ERR("[ESP-NOW] esp_now_send failed (err=0x%x cmd=%d stage=%d)", err, cmd, stage);
        return -EIO;
    }

    LOG_INF("[ESP-NOW] TX queued cmd=%d stage=%d ts=%u ms", cmd, stage, pkt.ts_ms);
    return 0;
}

/* ─── Public API ──────────────────────────────────────────────────────────── */

int aed_espnow_init(aed_espnow_sent_cb_t sent_cb)
{
    s_sent_cb = sent_cb;

    /* 1. Print this board's Wi-Fi STA MAC for reference */
    uint8_t my_mac[6] = {0};
    esp_read_mac(my_mac, ESP_MAC_WIFI_STA);
    LOG_INF("══════════════════════════════════════════════════");
    LOG_INF(" [AED MCU ADDRESS]");
    LOG_INF(" AED  Wi-Fi STA MAC : %02X:%02X:%02X:%02X:%02X:%02X",
            my_mac[0], my_mac[1], my_mac[2],
            my_mac[3], my_mac[4], my_mac[5]);
    LOG_INF(" Target Manikin MAC : %02X:%02X:%02X:%02X:%02X:%02X",
            s_manikin_mac[0], s_manikin_mac[1], s_manikin_mac[2],
            s_manikin_mac[3], s_manikin_mac[4], s_manikin_mac[5]);
    LOG_INF(" ESP-NOW Channel    : %d", ESPNOW_WIFI_CHANNEL);
    LOG_INF("══════════════════════════════════════════════════");

    /* 2. Set Wi-Fi to STA mode (required for ESP-NOW) */
    wifi_config_t wifi_config = {0};
    esp_err_t err = esp_wifi_set_mode(ESP32_WIFI_MODE_STA);
    if (err != ESP_OK) {
        LOG_ERR("esp_wifi_set_mode(STA) failed: 0x%x", err);
        return -EIO;
    }

    err = esp_wifi_set_config(WIFI_IF_STA, &wifi_config);
    if (err != ESP_OK) {
        LOG_WRN("esp_wifi_set_config returned 0x%x (non-fatal)", err);
    }

    /* 3. Initialize ESP-NOW */
    err = esp_now_init();
    if (err != ESP_OK) {
        LOG_ERR("esp_now_init() failed: 0x%x", err);
        return -EIO;
    }

    /* 4. Register send status callback */
    err = esp_now_register_send_cb(espnow_send_cb);
    if (err != ESP_OK) {
        LOG_WRN("esp_now_register_send_cb failed: 0x%x (non-fatal)", err);
    }

    /* 5. Add Manikin as ESP-NOW peer */
    esp_now_peer_info_t peer = {0};
    memcpy(peer.peer_addr, s_manikin_mac, 6);
    peer.channel = ESPNOW_WIFI_CHANNEL;
    peer.encrypt = false;
    peer.ifidx   = WIFI_IF_STA;

    err = esp_now_add_peer(&peer);
    if (err != ESP_OK) {
        LOG_ERR("esp_now_add_peer() failed: 0x%x", err);
        esp_now_deinit();
        return -EIO;
    }

    s_ready = true;
    LOG_INF("[ESP-NOW] Initialized. Manikin peer registered. Ready to send.");
    return 0;
}

bool aed_espnow_is_ready(void)
{
    return s_ready;
}

int aed_espnow_send_aed_on(void)
{
    LOG_INF(">>> Sending AED_ON (cmd=1, stage=0)");
    return espnow_tx(ESPNOW_CMD_AED_ON, 0);
}

int aed_espnow_send_aed_off(void)
{
    LOG_INF(">>> Sending AED_OFF (cmd=0, stage=0)");
    return espnow_tx(ESPNOW_CMD_AED_OFF, 0);
}

int aed_espnow_send_shock_on(uint8_t stage)
{
    LOG_INF(">>> Sending SHOCK_ON (cmd=2, stage=%d)", stage);
    return espnow_tx(ESPNOW_CMD_SHOCK_ON, stage);
}

int aed_espnow_send_shock_off(void)
{
    LOG_INF(">>> Sending SHOCK_OFF (cmd=3, stage=3)");
    return espnow_tx(ESPNOW_CMD_SHOCK_OFF, 3);
}
```

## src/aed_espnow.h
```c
/**
 * @file    aed_espnow.h
 * @brief   AED ESP-NOW Wireless Subsystem (Zephyr RTOS + Espressif HAL)
 * @version 1.0.0
 *
 * STRICT 4-COMMAND PROTOCOL (AED → Manikin MCU via ESP-NOW):
 *  1. AED_ON    (cmd=1, stage=0) — Sent on boot / power-on
 *  2. AED_OFF   (cmd=0, stage=0) — Sent on power-off
 *  3. SHOCK_ON  (cmd=2, stage=1) — Stage 1: Yellow / Instruction
 *  4. SHOCK_ON  (cmd=2, stage=2) — Stage 2: Red / Delivering
 *  5. SHOCK_OFF (cmd=3, stage=3) — Stage 3: Shock complete
 *
 * Target Manikin Wi-Fi STA MAC: E8:3D:C1:82:1B:F0 (channel 1)
 */

#pragma once

#include <stdbool.h>
#include <stdint.h>
#include "aed_config.h"

#ifdef __cplusplus
extern "C" {
#endif

/* ─── ESP-NOW Packet (packed, 6 bytes) ────────────────────────────────────── */
typedef struct __attribute__((packed)) {
    uint8_t  cmd;    /* 0=AED_OFF, 1=AED_ON, 2=SHOCK_ON, 3=SHOCK_OFF */
    uint8_t  stage;  /* 0=idle, 1=yellow/instruction, 2=red/delivering, 3=done */
    uint32_t ts_ms;  /* k_uptime_get_32() timestamp (milliseconds) */
} aed_espnow_pkt_t;

/* Command codes */
#define ESPNOW_CMD_AED_OFF   0
#define ESPNOW_CMD_AED_ON    1
#define ESPNOW_CMD_SHOCK_ON  2
#define ESPNOW_CMD_SHOCK_OFF 3

/* ─── Send callback (optional — for delivery status logging) ─────────────── */
typedef void (*aed_espnow_sent_cb_t)(bool success);

/* ─── Public API ─────────────────────────────────────────────────────────── */

/**
 * @brief  Initialize Wi-Fi (STA mode) and ESP-NOW, register Manikin as peer.
 * @return 0 on success, negative errno on failure.
 */
int aed_espnow_init(aed_espnow_sent_cb_t sent_cb);

/** @brief Send AED_ON  packet (cmd=1, stage=0) */
int aed_espnow_send_aed_on(void);

/** @brief Send AED_OFF packet (cmd=0, stage=0) */
int aed_espnow_send_aed_off(void);

/**
 * @brief Send SHOCK_ON packet with shock stage.
 * @param stage  1 = instruction/yellow, 2 = delivering/red
 */
int aed_espnow_send_shock_on(uint8_t stage);

/** @brief Send SHOCK_OFF packet (cmd=3, stage=3) */
int aed_espnow_send_shock_off(void);

/** @brief Returns true if ESP-NOW is initialized and peer is registered. */
bool aed_espnow_is_ready(void);

#ifdef __cplusplus
}
#endif
```
